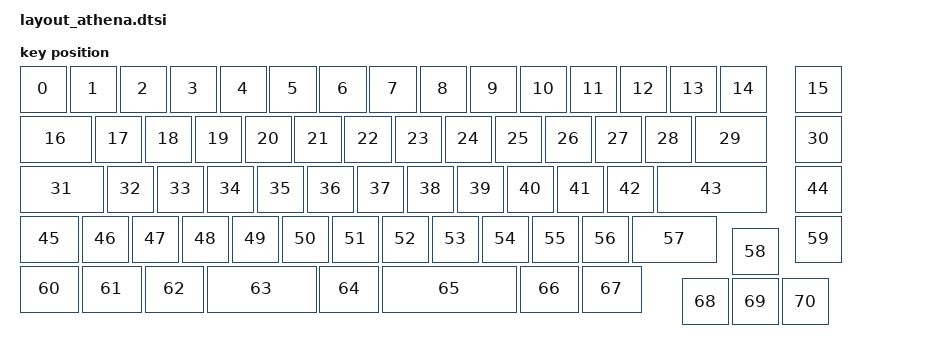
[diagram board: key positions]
// layout_athena.dtsi
// Physical layouts for Athena keyboard with multiple layout options

#include <physical_layouts.dtsi>

/ {
    // Default layout - ANSI with 2u backspace and 6.25u spacebar
    athena_ansi_layout: athena_ansi_layout {
        compatible = "zmk,physical-layout";
        display-name = "Athena ANSI";
           keys  //                     w   h    x    y     rot    rx    ry
            = <&key_physical_attrs 100 100  300    0       0     0     0>
            , <&key_physical_attrs 100 100  400    0       0     0     0>
            , <&key_physical_attrs 100 100  500    0       0     0     0>
            , <&key_physical_attrs 100 100  600    0       0     0     0>
            , <&key_physical_attrs 100 100  700    0       0     0     0>
            , <&key_physical_attrs 100 100  800    0       0     0     0>
            , <&key_physical_attrs 100 100  900    0       0     0     0>
            , <&key_physical_attrs 100 100 1000    0       0     0     0>
            , <&key_physical_attrs 100 100 1100    0       0     0     0>
            , <&key_physical_attrs 100 100 1200    0       0     0     0>
            , <&key_physical_attrs 100 100 1300    0       0     0     0>
            , <&key_physical_attrs 100 100 1400    0       0     0     0>
            , <&key_physical_attrs 100 100 1500    0       0     0     0>
            , <&key_physical_attrs 100 100 1600    0       0     0     0>
            , <&key_physical_attrs 100 100 1700    0       0     0     0>
            , <&key_physical_attrs 100 100 1850    0       0     0     0>
            , <&key_physical_attrs 150 100  300  100       0     0     0>
            , <&key_physical_attrs 100 100  450  100       0     0     0>
            , <&key_physical_attrs 100 100  550  100       0     0     0>
            , <&key_physical_attrs 100 100  650  100       0     0     0>
            , <&key_physical_attrs 100 100  750  100       0     0     0>
            , <&key_physical_attrs 100 100  850  100       0     0     0>
            , <&key_physical_attrs 100 100  950  100       0     0     0>
            , <&key_physical_attrs 100 100 1050  100       0     0     0>
            , <&key_physical_attrs 100 100 1150  100       0     0     0>
            , <&key_physical_attrs 100 100 1250  100       0     0     0>
            , <&key_physical_attrs 100 100 1350  100       0     0     0>
            , <&key_physical_attrs 100 100 1450  100       0     0     0>
            , <&key_physical_attrs 100 100 1550  100       0     0     0>
            , <&key_physical_attrs 150 100 1650  100       0     0     0>
            , <&key_physical_attrs 100 100 1850  100       0     0     0>
            , <&key_physical_attrs 175 100  300  200       0     0     0>
            , <&key_physical_attrs 100 100  475  200       0     0     0>
            , <&key_physical_attrs 100 100  575  200       0     0     0>
            , <&key_physical_attrs 100 100  675  200       0     0     0>
            , <&key_physical_attrs 100 100  775  200       0     0     0>
            , <&key_physical_attrs 100 100  875  200       0     0     0>
            , <&key_physical_attrs 100 100  975  200       0     0     0>
            , <&key_physical_attrs 100 100 1075  200       0     0     0>
            , <&key_physical_attrs 100 100 1175  200       0     0     0>
            , <&key_physical_attrs 100 100 1275  200       0     0     0>
            , <&key_physical_attrs 100 100 1375  200       0     0     0>
            , <&key_physical_attrs 100 100 1475  200       0     0     0>
            , <&key_physical_attrs 225 100 1575  200       0     0     0>
            , <&key_physical_attrs 100 100 1850  200       0     0     0>
            , <&key_physical_attrs 125 100  300  300       0     0     0>
            , <&key_physical_attrs 100 100  425  300       0     0     0>
            , <&key_physical_attrs 100 100  525  300       0     0     0>
            , <&key_physical_attrs 100 100  625  300       0     0     0>
            , <&key_physical_attrs 100 100  725  300       0     0     0>
            , <&key_physical_attrs 100 100  825  300       0     0     0>
            , <&key_physical_attrs 100 100  925  300       0     0     0>
            , <&key_physical_attrs 100 100 1025  300       0     0     0>
            , <&key_physical_attrs 100 100 1125  300       0     0     0>
            , <&key_physical_attrs 100 100 1225  300       0     0     0>
            , <&key_physical_attrs 100 100 1325  300       0     0     0>
            , <&key_physical_attrs 100 100 1425  300       0     0     0>
            , <&key_physical_attrs 175 100 1525  300       0     0     0>
            , <&key_physical_attrs 100 100 1725  325       0     0     0>
            , <&key_physical_attrs 100 100 1850  300       0     0     0>
            , <&key_physical_attrs 125 100  300  400       0     0     0>
            , <&key_physical_attrs 125 100  425  400       0     0     0>
            , <&key_physical_attrs 125 100  550  400       0     0     0>
            , <&key_physical_attrs 225 100  675  400       0     0     0>
            , <&key_physical_attrs 125 100  900  400       0     0     0>
            , <&key_physical_attrs 275 100 1025  400       0     0     0>
            , <&key_physical_attrs 125 100 1300  400       0     0     0>
            , <&key_physical_attrs 125 100 1425  400       0     0     0>
            , <&key_physical_attrs 100 100 1625  425       0     0     0>
            , <&key_physical_attrs 100 100 1725  425       0     0     0>
            , <&key_physical_attrs 100 100 1825  425       0     0     0>
            ;
    };

    //  keys  //                       w   h    x     y     rot    rx    ry
    //         = <&key_physical_attrs 100 100  300    0       0     0     0> //~
    //         , <&key_physical_attrs 100 100  400    0       0     0     0> //1
    //         , <&key_physical_attrs 100 100  500    0       0     0     0> //2
    //         , <&key_physical_attrs 100 100  600    0       0     0     0> //3
    //         , <&key_physical_attrs 100 100  700    0       0     0     0> //4
    //         , <&key_physical_attrs 100 100  800    0       0     0     0> //5
    //         , <&key_physical_attrs 100 100  900    0       0     0     0> //6
    //         , <&key_physical_attrs 100 100 1000    0       0     0     0> //7
    //         , <&key_physical_attrs 100 100 1100    0       0     0     0> //8
    //         , <&key_physical_attrs 100 100 1200    0       0     0     0> //9 
    //         , <&key_physical_attrs 100 100 1300    0       0     0     0> //0
    //         , <&key_physical_attrs 100 100 1400    0       0     0     0> //-
    //         , <&key_physical_attrs 100 100 1500    0       0     0     0> //=
    //         , <&key_physical_attrs 100 100 1600    0       0     0     0> //Backspace
    //         , <&key_physical_attrs 100 100 1700    0       0     0     0> //Delete
    //         , <&key_physical_attrs 100 100 1850    0       0     0     0> //PG UP 
    //         //0-15

    //         , <&key_physical_attrs 150 100  300  100       0     0     0> //Tab
    //         , <&key_physical_attrs 100 100  450  100       0     0     0> //Q
    //         , <&key_physical_attrs 100 100  550  100       0     0     0> //W
    //         , <&key_physical_attrs 100 100  650  100       0     0     0> //E
    //         , <&key_physical_attrs 100 100  750  100       0     0     0> //R
    //         , <&key_physical_attrs 100 100  850  100       0     0     0> //T
    //         , <&key_physical_attrs 100 100  950  100       0     0     0> //Y
    //         , <&key_physical_attrs 100 100 1050  100       0     0     0> //U
    //         , <&key_physical_attrs 100 100 1150  100       0     0     0> //I
    //         , <&key_physical_attrs 100 100 1250  100       0     0     0> //O
    //         , <&key_physical_attrs 100 100 1350  100       0     0     0> //P
    //         , <&key_physical_attrs 100 100 1450  100       0     0     0> //[
    //         , <&key_physical_attrs 100 100 1550  100       0     0     0> //]
    //         , <&key_physical_attrs 150 100 1650  100       0     0     0> //\
    //         , <&key_physical_attrs 100 100 1850  100       0     0     0> //PG DN
    //         //16-30

    //         , <&key_physical_attrs 175 100  300  200       0     0     0> //Caps Lock
    //         , <&key_physical_attrs 100 100  475  200       0     0     0> //A
    //         , <&key_physical_attrs 100 100  575  200       0     0     0> //S
    //         , <&key_physical_attrs 100 100  675  200       0     0     0> //D
    //         , <&key_physical_attrs 100 100  775  200       0     0     0> //F
    //         , <&key_physical_attrs 100 100  875  200       0     0     0> //G
    //         , <&key_physical_attrs 100 100  975  200       0     0     0> //H
    //         , <&key_physical_attrs 100 100 1075  200       0     0     0> //J
    //         , <&key_physical_attrs 100 100 1175  200       0     0     0> //K
    //         , <&key_physical_attrs 100 100 1275  200       0     0     0> //L
    //         , <&key_physical_attrs 100 100 1375  200       0     0     0> //;
    //         , <&key_physical_attrs 100 100 1475  200       0     0     0> //'
    //         , <&key_physical_attrs 100 100 1575  200       0     0     0> //ISO \
    //         , <&key_physical_attrs 125 100 1675  200       0     0     0> //Enter
    //         , <&key_physical_attrs 100 100 1850  200       0     0     0> //Home
    //         //31-45

    //         , <&key_physical_attrs 225 100  300  300       0     0     0> //Left Shift
    //         , <&key_physical_attrs 100 100  425  300       0     0     0> //ISO >
    //         , <&key_physical_attrs 100 100  525  300       0     0     0> //Z
    //         , <&key_physical_attrs 100 100  625  300       0     0     0> //X
    //         , <&key_physical_attrs 100 100  725  300       0     0     0> //C
    //         , <&key_physical_attrs 100 100  825  300       0     0     0> //V
    //         , <&key_physical_attrs 100 100  925  300       0     0     0> //B
    //         , <&key_physical_attrs 100 100 1025  300       0     0     0> //N
    //         , <&key_physical_attrs 100 100 1125  300       0     0     0> //M
    //         , <&key_physical_attrs 100 100 1225  300       0     0     0> //,
    //         , <&key_physical_attrs 100 100 1325  300       0     0     0> //.
    //         , <&key_physical_attrs 100 100 1425  300       0     0     0> ///
    //         , <&key_physical_attrs 175 100 1525  300       0     0     0> //Right Shift
    //         , <&key_physical_attrs 100 100 1725  325       0     0     0> //Up Arrow
    //         , <&key_physical_attrs 100 100 1850  300       0     0     0> //End
    //         //46-60
     

    //         , <&key_physical_attrs 125 100  300  400       0     0     0> //Left Ctrl
    //         , <&key_physical_attrs 125 100  425  400       0     0     0> //Left GUI
    //         , <&key_physical_attrs 125 100  550  400       0     0     0> //Left Alt
    //         , <&key_physical_attrs 625 100  675  400       0     0     0> //Space
    //         , <&key_physical_attrs 225 100  675  400       0     0     0> //Space (split)
    //         , <&key_physical_attrs 275 100 1025  400       0     0     0> //Space (split)
    //         , <&key_physical_attrs 125 100 1300  400       0     0     0> //Right Alt
    //         , <&key_physical_attrs 125 100 1425  400       0     0     0> //Right Ctrl
    //         , <&key_physical_attrs 100 100 1625  425       0     0     0> //Left Arrow
    //         , <&key_physical_attrs 100 100 1725  425       0     0     0> //Down Arrow
    //         , <&key_physical_attrs 100 100 1825  425       0     0     0> //Right Arrow
    //         ;
    //         //61-71
    // };



    athena_position_map {
        compatible = "zmk,physical-layout-position-map";
        complete;

        ansi_map: ansi {
            physical-layout = <&athena_ansi_layout>;
            positions =<>;
                // // Row 0: ANSI uses 2u backspace (positions 12-13 combined, 14 hidden)
                // = < 0 1 2 3 4 5 6 7 8 9 10 11 12 13 14 15>
                // // Row 1: Standard
                // , <16 17 18 19 20 21 22 23 24 25 26 27 28 29 30>
                // // Row 2: Standard  
                // , <31 32 33 34 35 36 37 38 39 40 41 42 43 44 45>
                // // Row 3: Standard
                // , <46 48 49 50 51 52 53 54 55 56 57 58 59 61 60>
                // // Row 4: ANSI uses 6.25u spacebar (position 62, positions 63-64 hidden)
                // , <61 63 64 66 65 67 68 69 70 71>;
        };

    };
};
